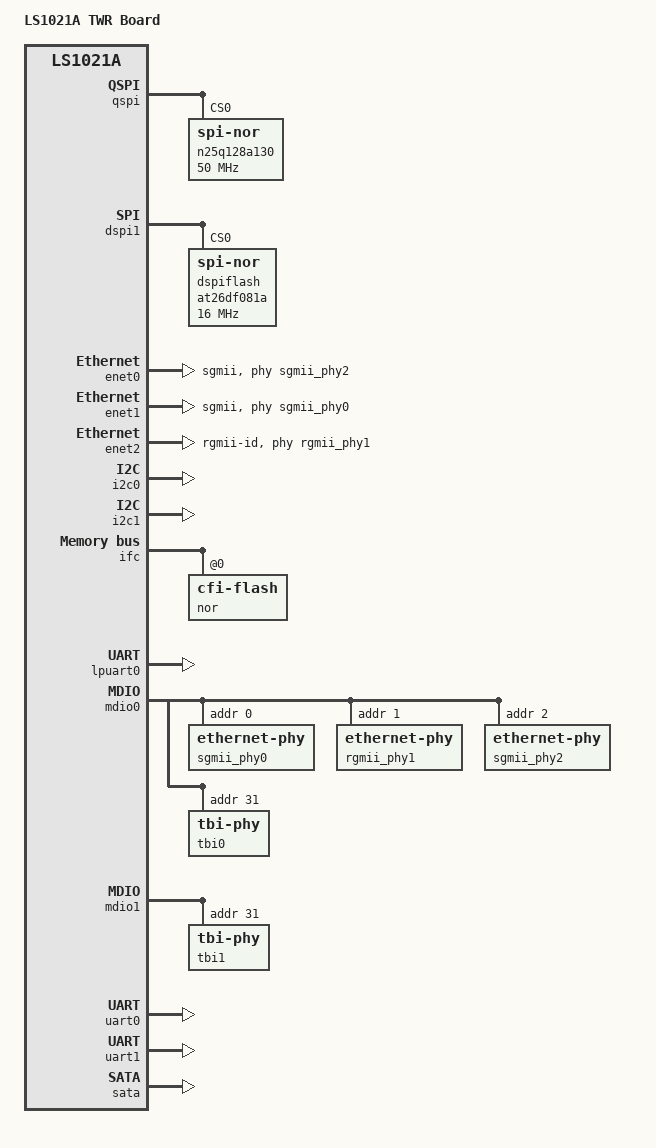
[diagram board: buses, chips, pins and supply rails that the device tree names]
// SPDX-License-Identifier: GPL-2.0+
/*
 * Freescale ls1021a TWR board common device tree source
 *
 * Copyright 2013-2015 Freescale Semiconductor, Inc.
 */

#include "ls1021a.dtsi"
#include "ls1021a-twr-u-boot.dtsi"

/ {
	model = "LS1021A TWR Board";

	aliases {
		enet2-rgmii-phy = &rgmii_phy1;
		enet0-sgmii-phy = &sgmii_phy2;
		enet1-sgmii-phy = &sgmii_phy0;
		spi0 = &qspi;
		spi1 = &dspi1;
	};

	chosen {
		stdout-path = &uart0;
	};
};

&qspi {
	status = "okay";

	n25q128a130: flash@0 {
		#address-cells = <1>;
		#size-cells = <1>;
		compatible = "jedec,spi-nor";
		spi-max-frequency = <50000000>;
		reg = <0>;
	};
};

&dspi1 {
	bus-num = <0>;
	status = "okay";

	dspiflash: at26df081a@0 {
		#address-cells = <1>;
		#size-cells = <1>;
		compatible = "jedec,spi-nor";
		spi-max-frequency = <16000000>;
		spi-cpol;
		spi-cpha;
		reg = <0>;
	};
};

&enet0 {
	tbi-handle = <&tbi0>;
	phy-handle = <&sgmii_phy2>;
	phy-connection-type = "sgmii";
	status = "okay";
};

&enet1 {
	tbi-handle = <&tbi1>;
	phy-handle = <&sgmii_phy0>;
	phy-connection-type = "sgmii";
	status = "okay";
};

&enet2 {
	phy-handle = <&rgmii_phy1>;
	phy-connection-type = "rgmii-id";
	status = "okay";
};

&i2c0 {
	status = "okay";
};

&i2c1 {
	status = "okay";
};

&ifc {
	#address-cells = <2>;
	#size-cells = <1>;
	/* NOR Flash on board */
	ranges = <0x0 0x0 0x60000000 0x08000000>;
	status = "okay";

	nor@0,0 {
		#address-cells = <1>;
		#size-cells = <1>;
		compatible = "cfi-flash";
		reg = <0x0 0x0 0x8000000>;
		bank-width = <2>;
		device-width = <1>;
	};
};

&lpuart0 {
	status = "okay";
};

&mdio0 {
	sgmii_phy0: ethernet-phy@0 {
		reg = <0x0>;
	};

	rgmii_phy1: ethernet-phy@1 {
		reg = <0x1>;
	};

	sgmii_phy2: ethernet-phy@2 {
		reg = <0x2>;
	};

	/* SGMII PCS for enet0 */
	tbi0: tbi-phy@1f {
		reg = <0x1f>;
		device_type = "tbi-phy";
	};
};

&mdio1 {
	/* SGMII PCS for enet1 */
	tbi1: tbi-phy@1f {
		reg = <0x1f>;
		device_type = "tbi-phy";
	};
};

&uart0 {
	status = "okay";
};

&uart1 {
	status = "okay";
};

&sata {
	status = "okay";
};
